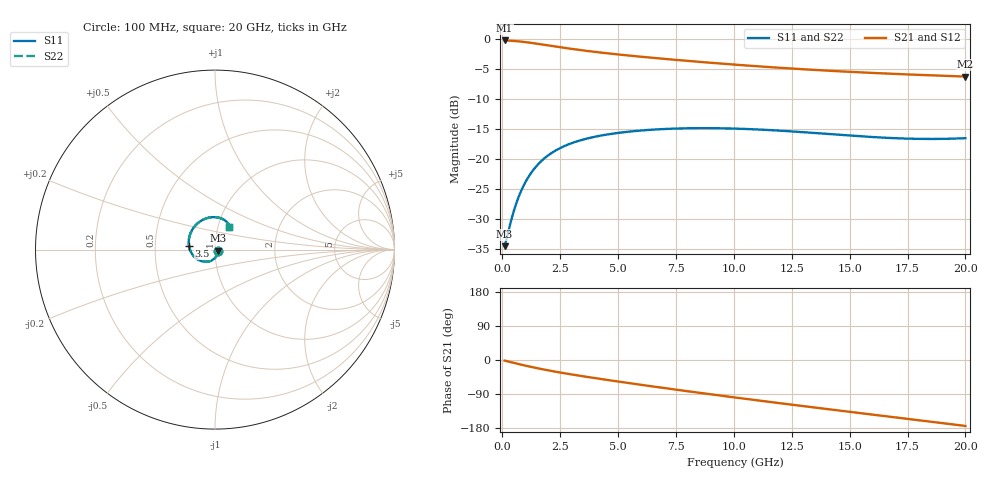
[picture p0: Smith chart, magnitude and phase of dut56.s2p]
! Created with skrf 1.9.0 (http://scikit-rf.org).
# GHz S RI R 50.0
!freq ReS11 ImS11 ReS21 ImS21 ReS12 ImS12 ReS22 ImS22
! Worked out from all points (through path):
!   200 points, 100 MHz to 20 GHz, reference 50 ohm
!   highest |S21| = -0.16 dB at 100 MHz (marker M1); lowest = -6.2 dB at 20 GHz (marker M2)
!   group delay of S21, straight-line fit = 22.9 ps
!   lowest |S11| = -34.6 dB at 100 MHz (marker M3), VSWR 1.04, Z = 51.8 - j0.662 ohm
!   |S11| at or under -10 dB: start of sweep to end of sweep
!   |S22| runs from -34.6 to -14.8 dB; largest |S21 - S12| = 2.1e-15
!   S11 on the Smith chart (normalised r, x): 100 MHz: 1.04, -0.01; 3.5 GHz: 0.75, +0.03; 20 GHz: 1.13, +0.29
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0.1  0.0176 -0.00639  0.9813 -0.0278  0.9813 -0.0278  0.0176 -0.00639
0.4  0.0124 -0.0291  0.9696 -0.1051  0.9696 -0.1051  0.0124 -0.0291
0.5  0.00858 -0.0359  0.9636 -0.13  0.9636 -0.13  0.00858 -0.0359
0.7  -0.00127 -0.0479  0.9484 -0.178  0.9484 -0.178  -0.00127 -0.0479
1  -0.0202 -0.0609  0.9189 -0.2444  0.9189 -0.2444  -0.0202 -0.0609
1.3  -0.042 -0.0672  0.8835 -0.3032  0.8835 -0.3032  -0.042 -0.0672
1.7  -0.0712 -0.0655  0.8312 -0.3698  0.8312 -0.3698  -0.0712 -0.0655
2.2  -0.1029 -0.0507  0.763 -0.4366  0.763 -0.4366  -0.1029 -0.0507
2.8  -0.1296 -0.0216  0.6822 -0.4984  0.6822 -0.4984  -0.1296 -0.0216
3.5  -0.1446 0.0184  0.5918 -0.5528  0.5918 -0.5528  -0.1446 0.0184
4.3  -0.1445 0.0631  0.4934 -0.5985  0.4934 -0.5985  -0.1445 0.0631
5.1  -0.1317 0.1017  0.3991 -0.6306  0.3991 -0.6306  -0.1317 0.1017
5.9  -0.1111 0.1323  0.3082 -0.651  0.3082 -0.651  -0.1111 0.1323
6.8  -0.0831 0.157  0.2103 -0.6613  0.2103 -0.6613  -0.0831 0.157
8.4  -0.0311 0.1787  0.0493 -0.6508  0.0493 -0.6508  -0.0311 0.1787
10.1  0.0161 0.1789  -0.0996 -0.6069  -0.0996 -0.6069  0.0161 0.1789
11.7  0.048 0.1673  -0.2171 -0.543  -0.2171 -0.543  0.048 0.1673
13.4  0.0684 0.1509  -0.3179 -0.4583  -0.3179 -0.4583  0.0684 0.1509
15  0.0772 0.137  -0.3908 -0.3677  -0.3908 -0.3677  0.0772 0.137
16.7  0.0795 0.1274  -0.4458 -0.2636  -0.4458 -0.2636  0.0795 0.1274
18.4  0.0788 0.1244  -0.478 -0.1548  -0.478 -0.1548  0.0788 0.1244
20  0.0789 0.1269  -0.4873 -0.0513  -0.4873 -0.0513  0.0789 0.1269
